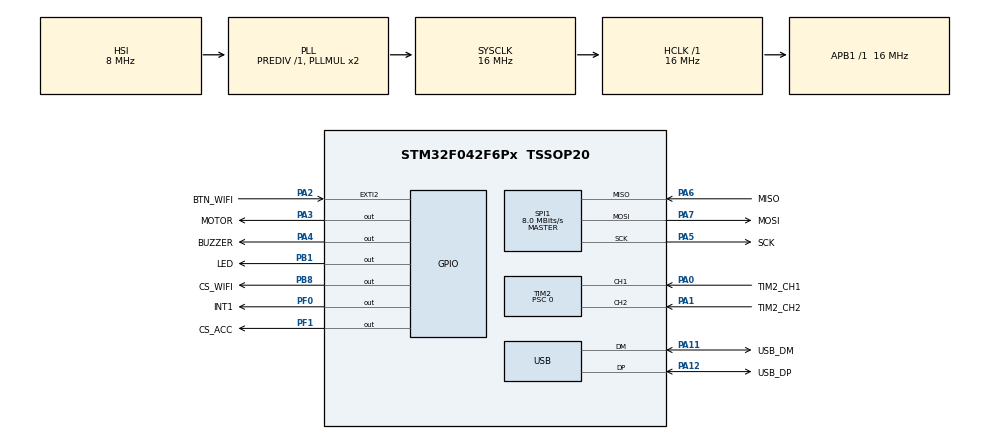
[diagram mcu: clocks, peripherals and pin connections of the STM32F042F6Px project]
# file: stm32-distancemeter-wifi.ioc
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Mcu.Family=STM32F0
Mcu.Name=STM32F042F6Px
Mcu.Package=TSSOP20
NVIC.EXTI2_3_IRQn=true\:0\:0\:false\:false\:true\:true
NVIC.SPI1_IRQn=true\:0\:0\:false\:false\:true\:true
NVIC.TIM1_BRK_UP_TRG_COM_IRQn=true\:0\:0\:false\:false\:true\:true
NVIC.TIM2_IRQn=true\:0\:0\:false\:false\:true\:true
NVIC.USB_IRQn=true\:0\:0\:false\:false\:true\:false
PA0.GPIO_Label=TIM2_CH1
PA0.GPIO_ModeDefaultPP=GPIO_MODE_AF_PP
PA0.GPIO_PuPd=GPIO_PULLUP
PA0.Signal=S_TIM2_CH1_ETR
PA1.GPIO_Label=TIM2_CH2
PA1.GPIO_PuPd=GPIO_PULLUP
PA1.Signal=S_TIM2_CH2
PA11.GPIO_Label=USB_DM
PA11.Mode=Device
PA11.Signal=USB_DM
PA12.GPIO_Label=USB_DP
PA12.Mode=Device
PA12.Signal=USB_DP
PA13.GPIO_Label=SWDIO
PA13.Mode=Serial_Wire
PA13.Signal=SYS_SWDIO
PA14.GPIO_Label=SWCLK
PA14.Mode=Serial_Wire
PA14.Signal=SYS_SWCLK
PA2.GPIO_Label=BTN_WIFI
PA2.Signal=GPXTI2
PA3.GPIO_Label=MOTOR
PA3.GPIO_ModeDefaultOutputPP=GPIO_MODE_OUTPUT_OD
PA3.GPIO_PuPd=GPIO_NOPULL
PA3.GPIO_Speed=GPIO_SPEED_FREQ_LOW
PA3.PinState=GPIO_PIN_RESET
PA3.Signal=GPIO_Output
PA4.GPIO_Label=BUZZER
PA4.GPIO_ModeDefaultOutputPP=GPIO_MODE_OUTPUT_OD
PA4.GPIO_PuPd=GPIO_NOPULL
PA4.GPIO_Speed=GPIO_SPEED_FREQ_LOW
PA4.PinState=GPIO_PIN_RESET
PA4.Signal=GPIO_Output
PA5.GPIO_Label=SCK
PA5.Mode=Full_Duplex_Master
PA5.Signal=SPI1_SCK
PA6.GPIO_Label=MISO
PA6.Mode=Full_Duplex_Master
PA6.Signal=SPI1_MISO
PA7.GPIO_Label=MOSI
PA7.Mode=Full_Duplex_Master
PA7.Signal=SPI1_MOSI
PB1.GPIO_Label=LED
PB1.GPIO_ModeDefaultOutputPP=GPIO_MODE_OUTPUT_OD
PB1.GPIO_PuPd=GPIO_NOPULL
PB1.GPIO_Speed=GPIO_SPEED_FREQ_LOW
PB1.PinState=GPIO_PIN_RESET
PB1.Signal=GPIO_Output
PB8.GPIO_FM8=__NULL
PB8.GPIO_Label=CS_WIFI
PB8.GPIO_ModeDefaultOutputPP=GPIO_MODE_OUTPUT_OD
PB8.GPIO_PuPd=GPIO_NOPULL
PB8.GPIO_Speed=GPIO_SPEED_FREQ_LOW
PB8.PinState=GPIO_PIN_RESET
PB8.Signal=GPIO_Output
PF0-OSC_IN.GPIO_Label=INT1
PF0-OSC_IN.GPIO_ModeDefaultOutputPP=GPIO_MODE_OUTPUT_OD
PF0-OSC_IN.GPIO_PuPd=GPIO_NOPULL
PF0-OSC_IN.GPIO_Speed=GPIO_SPEED_FREQ_LOW
PF0-OSC_IN.PinState=GPIO_PIN_RESET
PF0-OSC_IN.Signal=GPIO_Output
PF1-OSC_OUT.GPIO_Label=CS_ACC
PF1-OSC_OUT.GPIO_ModeDefaultOutputPP=GPIO_MODE_OUTPUT_OD
PF1-OSC_OUT.GPIO_PuPd=GPIO_NOPULL
PF1-OSC_OUT.GPIO_Speed=GPIO_SPEED_FREQ_LOW
PF1-OSC_OUT.PinState=GPIO_PIN_RESET
PF1-OSC_OUT.Signal=GPIO_Output
ProjectManager.HeapSize=0x200
ProjectManager.StackSize=0x400
ProjectManager.TargetToolchain=MDK-ARM V5
RCC.AHBFreq_Value=16000000
RCC.APB1Freq_Value=16000000
RCC.APB1TimFreq_Value=16000000
RCC.HCLKFreq_Value=16000000
RCC.SYSCLKFreq_VALUE=16000000
RCC.SYSCLKSource=RCC_SYSCLKSOURCE_PLLCLK
RCC.USBFreq_Value=48000000
SH.S_TIM2_CH1_ETR.0=TIM2_CH1,Encoder_Interface
SH.S_TIM2_CH2.0=TIM2_CH2,Encoder_Interface
SPI1.CalculateBaudRate=8.0 MBits/s
SPI1.Direction=SPI_DIRECTION_2LINES
SPI1.Mode=SPI_MODE_MASTER
SPI1.VirtualType=VM_MASTER
TIM1.AutoReloadPreload=TIM_AUTORELOAD_PRELOAD_ENABLE
TIM1.Channel-Output\ Compare1\ No\ Output=TIM_CHANNEL_1
TIM1.Period=0xF9
TIM1.Prescaler=0xFF
TIM1.RepetitionCounter=0
TIM2.Channel-Output\ Compare3\ No\ Output=TIM_CHANNEL_3
TIM2.Channel-Output\ Compare4\ No\ Output=TIM_CHANNEL_4
TIM2.OCMode_3=TIM_OCMODE_TIMING
TIM2.OCMode_4=TIM_OCMODE_TIMING
TIM2.Period=0xFFFF
TIM2.Prescaler=0
TIM2.Pulse-Output\ Compare3\ No\ Output=0
TIM2.Pulse-Output\ Compare4\ No\ Output=0
USB_DEVICE.CLASS_NAME_FS=CDC
USB_DEVICE.VirtualMode=Cdc
USB_DEVICE.VirtualModeFS=Cdc_FS
VP_RCC_USB.Mode=CRS SYNC Source USB
VP_SYS_VS_PINREMAP.Mode=PINREMAP
VP_TIM1_VS_no_output1.Mode=Output Compare1 No Output
VP_TIM2_VS_no_output3.Mode=Output Compare3 No Output
VP_TIM2_VS_no_output4.Mode=Output Compare4 No Output
VP_USB_DEVICE_VS_USB_DEVICE_CDC_FS.Mode=CDC_FS
board=custom

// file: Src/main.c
/**
  ******************************************************************************
  * @file           : main.c
  * @brief          : Main program body
  ******************************************************************************
  * This notice applies to any and all portions of this file
  * that are not between comment pairs USER CODE BEGIN and
  * USER CODE END. Other portions of this file, whether
  * inserted by the user or by software development tools
  * are owned by their respective copyright owners.
  *
  * Copyright (c) 2019 STMicroelectronics International N.V.
  * All rights reserved.
  *
  * Redistribution and use in source and binary forms, with or without
  * modification, are permitted, provided that the following conditions are met:
  *
  * 1. Redistribution of source code must retain the above copyright notice,
  *    this list of conditions and the following disclaimer.
  * 2. Redistributions in binary form must reproduce the above copyright notice,
  *    this list of conditions and the following disclaimer in the documentation
  *    and/or other materials provided with the distribution.
  * 3. Neither the name of STMicroelectronics nor the names of other
  *    contributors to this software may be used to endorse or promote products
  *    derived from this software without specific written permission.
  * 4. This software, including modifications and/or derivative works of this
  *    software, must execute solely and exclusively on microcontroller or
  *    microprocessor devices manufactured by or for STMicroelectronics.
  * 5. Redistribution and use of this software other than as permitted under
  *    this license is void and will automatically terminate your rights under
  *    this license.
  *
  * THIS SOFTWARE IS PROVIDED BY STMICROELECTRONICS AND CONTRIBUTORS "AS IS"
  * AND ANY EXPRESS, IMPLIED OR STATUTORY WARRANTIES, INCLUDING, BUT NOT
  * LIMITED TO, THE IMPLIED WARRANTIES OF MERCHANTABILITY, FITNESS FOR A
  * PARTICULAR PURPOSE AND NON-INFRINGEMENT OF THIRD PARTY INTELLECTUAL PROPERTY
  * RIGHTS ARE DISCLAIMED TO THE FULLEST EXTENT PERMITTED BY LAW. IN NO EVENT
  * SHALL STMICROELECTRONICS OR CONTRIBUTORS BE LIABLE FOR ANY DIRECT, INDIRECT,
  * INCIDENTAL, SPECIAL, EXEMPLARY, OR CONSEQUENTIAL DAMAGES (INCLUDING, BUT NOT
  * LIMITED TO, PROCUREMENT OF SUBSTITUTE GOODS OR SERVICES; LOSS OF USE, DATA,
  * OR PROFITS; OR BUSINESS INTERRUPTION) HOWEVER CAUSED AND ON ANY THEORY OF
  * LIABILITY, WHETHER IN CONTRACT, STRICT LIABILITY, OR TORT (INCLUDING
  * NEGLIGENCE OR OTHERWISE) ARISING IN ANY WAY OUT OF THE USE OF THIS SOFTWARE,
  * EVEN IF ADVISED OF THE POSSIBILITY OF SUCH DAMAGE.
  *
  ******************************************************************************
  */
#include "main.h"
#include "stm32f0xx_hal.h"
#include "usb_device.h"

/* USER CODE BEGIN Includes */
/* Counter Delta = count_right - count_left */
/* TIM1 Period = 32767=0x00007FFF */

#define TIM2_COUNT_LEFT         (0x3FF1)
#define TIM2_COUNT_RIGHT        (0x3FF9)
#define TIM2_COUNT              (0x3FF5)
/* USER CODE END Includes */

SPI_HandleTypeDef hspi1;

TIM_HandleTypeDef htim1;
TIM_HandleTypeDef htim2;

/* USER CODE BEGIN PV */
/* Private variables ---------------------------------------------------------*/
uint16_t 									count, count_halt;
uint8_t 									beep = 0x00;
extern TIM_HandleTypeDef 	htim1;
extern TIM_HandleTypeDef 	htim2;

#define MAX_REPEAT				5000
#define TIM2_COUNT				(0x3FF5)

void __HAL_TIM_IC_CaptureCallback(TIM_HandleTypeDef *htim);
void __HAL_TIM_PeriodElapsedCallback(TIM_HandleTypeDef *htim);
/* USER CODE END PV */

void SystemClock_Config(void);
static void MX_GPIO_Init(void);
static void MX_TIM2_Init(void);
static void MX_SPI1_Init(void);
static void MX_TIM1_Init(void);

/* USER CODE BEGIN PFP */
/* Private function prototypes -----------------------------------------------*/

/* USER CODE END PFP */

/* USER CODE BEGIN 0 */

void __HAL_TIM_IC_CaptureCallback(TIM_HandleTypeDef *htim)
{
	beep = 0x01;
/*TODO*/
//	__HAL_RCC_TIM1_CLK_ENABLE();	//LGTM	__HAL_RCC_TIM1_CLK_DISABLE();
	HAL_TIM_OC_MspInit(htim);			//LGTM	HAL_TIM_OC_MspDeInit(htim);		also why there is OC ???
//	__HAL_TIM_ENABLE(htim);			//LGTM	__HAL_TIM_DISABLE(htim);
	HAL_TIM_Base_Start(htim);			//LGTM	HAL_TIM_Base_Stop(htim);
}

void __HAL_TIM_PeriodElapsedCallback(TIM_HandleTypeDef *htim)
{
	if(beep != 0x00)
	{
		beep = 0x00;
		HAL_GPIO_WritePin(GPIOB, LED_Pin, GPIO_PIN_SET);
		HAL_GPIO_WritePin(GPIOA, MOTOR_Pin | BUZZER_Pin, GPIO_PIN_SET);
	}
	else
	{
		beep = 0x01;
		if (count > 20)
		{
			HAL_GPIO_WritePin(GPIOA, MOTOR_Pin | BUZZER_Pin, GPIO_PIN_RESET);
		}
	};
	count++;
	count_halt++;
	if (count > MAX_REPEAT)
	{
		count = 0;
		HAL_GPIO_WritePin(GPIOB, LED_Pin, GPIO_PIN_RESET);
		HAL_GPIO_WritePin(GPIOA, MOTOR_Pin | BUZZER_Pin, GPIO_PIN_RESET);
		__HAL_TIM_SET_COUNTER(&htim2, TIM2_COUNT);
	}
	if((__HAL_TIM_GET_COUNTER(&htim2)) > __HAL_TIM_GET_COMPARE(&htim2, TIM_CHANNEL_3))
	if((__HAL_TIM_GET_COUNTER(&htim2)) < __HAL_TIM_GET_COMPARE(&htim2, TIM_CHANNEL_4))
	{
		beep = 0x00;
		HAL_GPIO_WritePin(GPIOB, LED_Pin, GPIO_PIN_RESET);
		HAL_GPIO_WritePin(GPIOA, MOTOR_Pin | BUZZER_Pin, GPIO_PIN_RESET);
		count = 0;
	};
}

/* USER CODE END 0 */

int main(void)
{

  /* MCU Configuration----------------------------------------------------------*/

  /* Reset of all peripherals, Initializes the Flash interface and the Systick. */
  HAL_Init();

  /* Configure the system clock */
  SystemClock_Config();

  /* Initialize all configured peripherals */
  MX_GPIO_Init();
  MX_TIM2_Init();
  MX_SPI1_Init();
  MX_USB_DEVICE_Init();
  MX_TIM1_Init();
  /* USER CODE BEGIN 2 */
	/* TIM2 Init parameters */
	HAL_TIM_Encoder_Start_IT(&htim2, TIM_CHANNEL_1);
	HAL_TIM_Encoder_Start_IT(&htim2, TIM_CHANNEL_2);
	HAL_TIM_OC_Start_IT(&htim2, TIM_CHANNEL_3);
	HAL_TIM_OC_Start_IT(&htim2, TIM_CHANNEL_4);
	__HAL_TIM_SET_COUNTER(&htim2, TIM2_COUNT);
	__HAL_TIM_SET_COMPARE(&htim2, TIM_CHANNEL_3, TIM2_COUNT_LEFT);
	__HAL_TIM_SET_COMPARE(&htim2, TIM_CHANNEL_4, TIM2_COUNT_RIGHT);
	HAL_NVIC_EnableIRQ(TIM2_IRQn);

	/* TIM1 Init parameters */
	HAL_TIM_Base_Start_IT(&htim1);
	HAL_NVIC_EnableIRQ(TIM1_BRK_UP_TRG_COM_IRQn);
	__WFI();
  /* USER CODE END 2 */

  /* Infinite loop */
  /* USER CODE BEGIN WHILE */
  while (1)
  {
		if(count_halt >= 50000)
		{
			HAL_TIM_OC_MspDeInit(&htim1);
			HAL_TIM_OC_MspDeInit(&htim2);
			count_halt=0;
			HAL_TIM_OC_MspDeInit(&htim1);
			HAL_TIM_OC_MspDeInit(&htim2);
			HAL_GPIO_WritePin(TIM2_CH1_GPIO_Port, TIM2_CH1_Pin | TIM2_CH2_Pin, GPIO_PIN_SET);
			__HAL_RCC_PWR_CLK_ENABLE();
			__HAL_PWR_CLEAR_FLAG(PWR_FLAG_WU);
			HAL_PWR_EnterSTANDBYMode();
		}
		__WFI();
  /* USER CODE END WHILE */

  }

}

void SystemClock_Config(void)
{

  RCC_OscInitTypeDef RCC_OscInitStruct;
  RCC_ClkInitTypeDef RCC_ClkInitStruct;
  RCC_PeriphCLKInitTypeDef PeriphClkInit;
  RCC_CRSInitTypeDef RCC_CRSInitStruct;

    /**Initializes the CPU, AHB and APB busses clocks
    */
  RCC_OscInitStruct.OscillatorType = RCC_OSCILLATORTYPE_HSI|RCC_OSCILLATORTYPE_HSI48;
  RCC_OscInitStruct.HSIState = RCC_HSI_ON;
  RCC_OscInitStruct.HSI48State = RCC_HSI48_ON;
  RCC_OscInitStruct.HSICalibrationValue = 16;
  RCC_OscInitStruct.PLL.PLLState = RCC_PLL_ON;
  RCC_OscInitStruct.PLL.PLLSource = RCC_PLLSOURCE_HSI;
  RCC_OscInitStruct.PLL.PLLMUL = RCC_PLL_MUL2;
  RCC_OscInitStruct.PLL.PREDIV = RCC_PREDIV_DIV1;
  if (HAL_RCC_OscConfig(&RCC_OscInitStruct) != HAL_OK)
  {
    _Error_Handler(__FILE__, __LINE__);
  }

    /**Initializes the CPU, AHB and APB busses clocks
    */
  RCC_ClkInitStruct.ClockType = RCC_CLOCKTYPE_HCLK|RCC_CLOCKTYPE_SYSCLK
                              |RCC_CLOCKTYPE_PCLK1;
  RCC_ClkInitStruct.SYSCLKSource = RCC_SYSCLKSOURCE_PLLCLK;
  RCC_ClkInitStruct.AHBCLKDivider = RCC_SYSCLK_DIV1;
  RCC_ClkInitStruct.APB1CLKDivider = RCC_HCLK_DIV1;

  if (HAL_RCC_ClockConfig(&RCC_ClkInitStruct, FLASH_LATENCY_0) != HAL_OK)
  {
    _Error_Handler(__FILE__, __LINE__);
  }

  PeriphClkInit.PeriphClockSelection = RCC_PERIPHCLK_USB;
  PeriphClkInit.UsbClockSelection = RCC_USBCLKSOURCE_HSI48;

  if (HAL_RCCEx_PeriphCLKConfig(&PeriphClkInit) != HAL_OK)
  {
    _Error_Handler(__FILE__, __LINE__);
  }

    /**Enable the SYSCFG APB clock
    */
  __HAL_RCC_CRS_CLK_ENABLE();

    /**Configures CRS
    */
  RCC_CRSInitStruct.Prescaler = RCC_CRS_SYNC_DIV1;
  RCC_CRSInitStruct.Source = RCC_CRS_SYNC_SOURCE_USB;
  RCC_CRSInitStruct.Polarity = RCC_CRS_SYNC_POLARITY_RISING;
  RCC_CRSInitStruct.ReloadValue = __HAL_RCC_CRS_RELOADVALUE_CALCULATE(48000000,1000);
  RCC_CRSInitStruct.ErrorLimitValue = 34;
  RCC_CRSInitStruct.HSI48CalibrationValue = 32;

  HAL_RCCEx_CRSConfig(&RCC_CRSInitStruct);

    /**Configure the Systick interrupt time
    */
  HAL_SYSTICK_Config(HAL_RCC_GetHCLKFreq()/1000);

    /**Configure the Systick
    */
  HAL_SYSTICK_CLKSourceConfig(SYSTICK_CLKSOURCE_HCLK);

  /* SysTick_IRQn interrupt configuration */
  HAL_NVIC_SetPriority(SysTick_IRQn, 0, 0);
}

/* SPI1 init function */
static void MX_SPI1_Init(void)
{

  /* SPI1 parameter configuration*/
  hspi1.Instance = SPI1;
  hspi1.Init.Mode = SPI_MODE_MASTER;
  hspi1.Init.Direction = SPI_DIRECTION_2LINES;
  hspi1.Init.DataSize = SPI_DATASIZE_4BIT;
  hspi1.Init.CLKPolarity = SPI_POLARITY_LOW;
  hspi1.Init.CLKPhase = SPI_PHASE_1EDGE;
  hspi1.Init.NSS = SPI_NSS_SOFT;
  hspi1.Init.BaudRatePrescaler = SPI_BAUDRATEPRESCALER_2;
  hspi1.Init.FirstBit = SPI_FIRSTBIT_MSB;
  hspi1.Init.TIMode = SPI_TIMODE_DISABLE;
  hspi1.Init.CRCCalculation = SPI_CRCCALCULATION_DISABLE;
  hspi1.Init.CRCPolynomial = 7;
  hspi1.Init.CRCLength = SPI_CRC_LENGTH_DATASIZE;
  hspi1.Init.NSSPMode = SPI_NSS_PULSE_ENABLE;
  if (HAL_SPI_Init(&hspi1) != HAL_OK)
  {
    _Error_Handler(__FILE__, __LINE__);
  }

}

/* TIM1 init function */
static void MX_TIM1_Init(void)
{

  TIM_MasterConfigTypeDef sMasterConfig;
  TIM_OC_InitTypeDef sConfigOC;
  TIM_BreakDeadTimeConfigTypeDef sBreakDeadTimeConfig;

  htim1.Instance = TIM1;
  htim1.Init.Prescaler = 0xFF;
  htim1.Init.CounterMode = TIM_COUNTERMODE_UP;
  htim1.Init.Period = 0xF9;
  htim1.Init.ClockDivision = TIM_CLOCKDIVISION_DIV1;
  htim1.Init.RepetitionCounter = 0;
  htim1.Init.AutoReloadPreload = TIM_AUTORELOAD_PRELOAD_ENABLE;
  if (HAL_TIM_OC_Init(&htim1) != HAL_OK)
  {
    _Error_Handler(__FILE__, __LINE__);
  }

  sMasterConfig.MasterOutputTrigger = TIM_TRGO_RESET;
  sMasterConfig.MasterSlaveMode = TIM_MASTERSLAVEMODE_DISABLE;
  if (HAL_TIMEx_MasterConfigSynchronization(&htim1, &sMasterConfig) != HAL_OK)
  {
    _Error_Handler(__FILE__, __LINE__);
  }

  sConfigOC.OCMode = TIM_OCMODE_TIMING;
  sConfigOC.Pulse = 0;
  sConfigOC.OCPolarity = TIM_OCPOLARITY_HIGH;
  sConfigOC.OCNPolarity = TIM_OCNPOLARITY_HIGH;
  sConfigOC.OCFastMode = TIM_OCFAST_DISABLE;
  sConfigOC.OCIdleState = TIM_OCIDLESTATE_RESET;
  sConfigOC.OCNIdleState = TIM_OCNIDLESTATE_RESET;
  if (HAL_TIM_OC_ConfigChannel(&htim1, &sConfigOC, TIM_CHANNEL_1) != HAL_OK)
  {
    _Error_Handler(__FILE__, __LINE__);
  }

  sBreakDeadTimeConfig.OffStateRunMode = TIM_OSSR_DISABLE;
  sBreakDeadTimeConfig.OffStateIDLEMode = TIM_OSSI_DISABLE;
  sBreakDeadTimeConfig.LockLevel = TIM_LOCKLEVEL_OFF;
  sBreakDeadTimeConfig.DeadTime = 0;
  sBreakDeadTimeConfig.BreakState = TIM_BREAK_DISABLE;
  sBreakDeadTimeConfig.BreakPolarity = TIM_BREAKPOLARITY_HIGH;
  sBreakDeadTimeConfig.AutomaticOutput = TIM_AUTOMATICOUTPUT_DISABLE;
  if (HAL_TIMEx_ConfigBreakDeadTime(&htim1, &sBreakDeadTimeConfig) != HAL_OK)
  {
    _Error_Handler(__FILE__, __LINE__);
  }

}

/* TIM2 init function */
static void MX_TIM2_Init(void)
{

  TIM_Encoder_InitTypeDef sConfig;
  TIM_MasterConfigTypeDef sMasterConfig;
  TIM_OC_InitTypeDef sConfigOC;

  htim2.Instance = TIM2;
  htim2.Init.Prescaler = 0;
  htim2.Init.CounterMode = TIM_COUNTERMODE_UP;
  htim2.Init.Period = 0xFFFF;
  htim2.Init.ClockDivision = TIM_CLOCKDIVISION_DIV1;
  htim2.Init.AutoReloadPreload = TIM_AUTORELOAD_PRELOAD_DISABLE;
  if (HAL_TIM_OC_Init(&htim2) != HAL_OK)
  {
    _Error_Handler(__FILE__, __LINE__);
  }

  sConfig.EncoderMode = TIM_ENCODERMODE_TI1;
  sConfig.IC1Polarity = TIM_ICPOLARITY_RISING;
  sConfig.IC1Selection = TIM_ICSELECTION_DIRECTTI;
  sConfig.IC1Prescaler = TIM_ICPSC_DIV1;
  sConfig.IC1Filter = 0;
  sConfig.IC2Polarity = TIM_ICPOLARITY_RISING;
  sConfig.IC2Selection = TIM_ICSELECTION_DIRECTTI;
  sConfig.IC2Prescaler = TIM_ICPSC_DIV1;
  sConfig.IC2Filter = 0;
  if (HAL_TIM_Encoder_Init(&htim2, &sConfig) != HAL_OK)
  {
    _Error_Handler(__FILE__, __LINE__);
  }

  sMasterConfig.MasterOutputTrigger = TIM_TRGO_RESET;
  sMasterConfig.MasterSlaveMode = TIM_MASTERSLAVEMODE_DISABLE;
  if (HAL_TIMEx_MasterConfigSynchronization(&htim2, &sMasterConfig) != HAL_OK)
  {
    _Error_Handler(__FILE__, __LINE__);
  }

  sConfigOC.OCMode = TIM_OCMODE_TIMING;
  sConfigOC.Pulse = 0;
  sConfigOC.OCPolarity = TIM_OCPOLARITY_HIGH;
  sConfigOC.OCFastMode = TIM_OCFAST_DISABLE;
  if (HAL_TIM_OC_ConfigChannel(&htim2, &sConfigOC, TIM_CHANNEL_3) != HAL_OK)
  {
    _Error_Handler(__FILE__, __LINE__);
  }

  if (HAL_TIM_OC_ConfigChannel(&htim2, &sConfigOC, TIM_CHANNEL_4) != HAL_OK)
  {
    _Error_Handler(__FILE__, __LINE__);
  }

}

/** Configure pins as
        * Analog
        * Input
        * Output
        * EVENT_OUT
        * EXTI
*/
static void MX_GPIO_Init(void)
{

  GPIO_InitTypeDef GPIO_InitStruct;

  /* GPIO Ports Clock Enable */
  __HAL_RCC_GPIOB_CLK_ENABLE();
  __HAL_RCC_GPIOF_CLK_ENABLE();
  __HAL_RCC_GPIOA_CLK_ENABLE();

  /*Configure GPIO pin Output Level */
  HAL_GPIO_WritePin(GPIOB, CS_WIFI_Pin|LED_Pin, GPIO_PIN_RESET);

  /*Configure GPIO pin Output Level */
  HAL_GPIO_WritePin(GPIOF, INT1_Pin|CS_ACC_Pin, GPIO_PIN_RESET);

  /*Configure GPIO pin Output Level */
  HAL_GPIO_WritePin(GPIOA, MOTOR_Pin|BUZZER_Pin, GPIO_PIN_RESET);

  /*Configure GPIO pins : CS_WIFI_Pin LED_Pin */
  GPIO_InitStruct.Pin = CS_WIFI_Pin|LED_Pin;
  GPIO_InitStruct.Mode = GPIO_MODE_OUTPUT_OD;
  GPIO_InitStruct.Pull = GPIO_NOPULL;
  GPIO_InitStruct.Speed = GPIO_SPEED_FREQ_LOW;
  HAL_GPIO_Init(GPIOB, &GPIO_InitStruct);

  /*Configure GPIO pins : INT1_Pin CS_ACC_Pin */
  GPIO_InitStruct.Pin = INT1_Pin|CS_ACC_Pin;
  GPIO_InitStruct.Mode = GPIO_MODE_OUTPUT_OD;
  GPIO_InitStruct.Pull = GPIO_NOPULL;
  GPIO_InitStruct.Speed = GPIO_SPEED_FREQ_LOW;
  HAL_GPIO_Init(GPIOF, &GPIO_InitStruct);

  /*Configure GPIO pin : BTN_WIFI_Pin */
  GPIO_InitStruct.Pin = BTN_WIFI_Pin;
  GPIO_InitStruct.Mode = GPIO_MODE_IT_RISING;
  GPIO_InitStruct.Pull = GPIO_NOPULL;
  HAL_GPIO_Init(BTN_WIFI_GPIO_Port, &GPIO_InitStruct);

  /*Configure GPIO pins : MOTOR_Pin BUZZER_Pin */
  GPIO_InitStruct.Pin = MOTOR_Pin|BUZZER_Pin;
  GPIO_InitStruct.Mode = GPIO_MODE_OUTPUT_OD;
  GPIO_InitStruct.Pull = GPIO_NOPULL;
  GPIO_InitStruct.Speed = GPIO_SPEED_FREQ_LOW;
  HAL_GPIO_Init(GPIOA, &GPIO_InitStruct);

  /* EXTI interrupt init*/
  HAL_NVIC_SetPriority(EXTI2_3_IRQn, 0, 0);
  HAL_NVIC_EnableIRQ(EXTI2_3_IRQn);

}

void _Error_Handler(char *file, int line)
{
  while(1)
  {
  }
}

/************************ (C) COPYRIGHT STMicroelectronics *****END OF FILE****/
